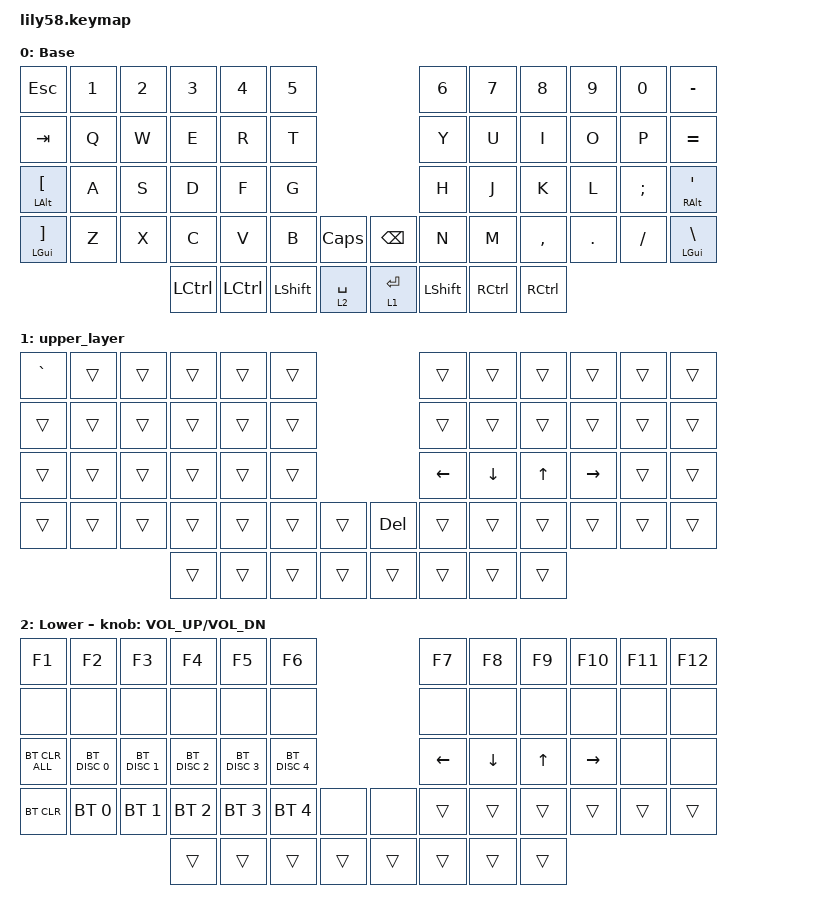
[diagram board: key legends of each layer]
/*
 * Copyright (c) 2020 The ZMK Contributors
 *
 * SPDX-License-Identifier: MIT
 */

#include <behaviors.dtsi>
#include <dt-bindings/zmk/bt.h>
#include <dt-bindings/zmk/keys.h>

/ {
    behaviors {
        hm: homerow_mods {
            compatible = "zmk,behavior-hold-tap";
            #binding-cells = <2>;
            tapping-term-ms = <150>;
            quick-tap-ms = <200>;
            flavor = "tap-preferred";
            require-prior-idle-ms = <125>;
            bindings = <&kp>, <&kp>;
        };
    };

    keymap {
        compatible = "zmk,keymap";

        default_layer {
            // ------------------------------------------------------------------------------------------------------------
            // |  ESC  |  1  |  2  |  3   |  4   |  5   |                   |  6   |  7    |  8    |  9   |   0   |   `   |
            // |  TAB  |  Q  |  W  |  E   |  R   |  T   |                   |  Y   |  U    |  I    |  O   |   P   |   -   |
            // |  CTRL |  A  |  S  |  D   |  F   |  G   |                   |  H   |  J    |  K    |  L   |   ;   |   '   |
            // | SHIFT |  Z  |  X  |  C   |  V   |  B   |   "["  |  |  "]"  |  N   |  M    |  ,    |  .   |   /   | SHIFT |
            //                     | ALT  | GUI  | LOWER|  SPACE |  | ENTER | RAISE| BSPC  | GUI   |

            display-name = "Base";
            bindings = <
&kp ESC                 &kp N1  &kp N2  &kp N3     &kp N4            &kp N5                                   &kp N6     &kp N7             &kp N8     &kp N9   &kp N0    &kp MINUS
&kp TAB                 &kp Q   &kp W   &kp E      &kp R             &kp T                                    &kp Y      &kp U              &kp I      &kp O    &kp P     &kp EQUAL
&hm LALT LEFT_BRACKET   &kp A   &kp S   &kp D      &kp F             &kp G                                    &kp H      &kp J              &kp K      &kp L    &kp SEMI  &hm RALT SINGLE_QUOTE
&hm LGUI RIGHT_BRACKET  &kp Z   &kp X   &kp C      &kp V             &kp B      &kp CAPS       &kp BACKSPACE  &kp N      &kp M              &kp COMMA  &kp DOT  &kp FSLH  &hm LGUI BSLH
                                        &kp LCTRL  &kp LEFT_CONTROL  &kp LSHFT  &lt 2 SPACE    &lt 1 RETURN   &kp LSHFT  &kp RIGHT_CONTROL  &kp RCTRL
            >;
        };

        upper_layer {
            bindings = <
&kp GRAVE  &trans  &trans  &trans  &trans  &trans                        &trans    &trans    &trans        &trans           &trans  &trans
&trans     &trans  &trans  &trans  &trans  &trans                        &trans    &trans    &trans        &trans           &trans  &trans
&trans     &trans  &trans  &trans  &trans  &trans                        &kp LEFT  &kp DOWN  &kp UP_ARROW  &kp RIGHT_ARROW  &trans  &trans
&trans     &trans  &trans  &trans  &trans  &trans  &trans    &kp DELETE  &trans    &trans    &trans        &trans           &trans  &trans
                           &trans  &trans  &trans  &trans    &trans      &trans    &trans    &trans
            >;
        };

        lower_layer {
            // ------------------------------------------------------------------------------------------------------------
            // | BTCLR | BT1 | BT2 |  BT3 |  BT4 |  BT5 |                   |      |       |       |      |       |       |
            // |  F1   |  F2 |  F3 |  F4  |  F5  |  F6  |                   |  F7  |  F8   |  F9   |  F10 |  F11  |  F12  |
            // |   `   |  !  |  @  |  #   |  $   |  %   |                   |  ^   |  &    |  *    |  (   |   )   |   ~   |
            // |       |     |     |      |      |      |        |  |       |      |  _    |  +    |  {   |   }   |  "|"  |
            //                     |      |      |      |        |  |       |      |       |       |

            display-name = "Lower";
            bindings = <
&kp F1          &kp F2         &kp F3         &kp F4         &kp F5         &kp F6                           &kp F7    &kp F8    &kp F9  &kp F10    &kp F11  &kp F12
&none           &none          &none          &none          &none          &none                            &none     &none     &none   &none      &none    &none
&bt BT_CLR_ALL  &bt BT_DISC 0  &bt BT_DISC 1  &bt BT_DISC 2  &bt BT_DISC 3  &bt BT_DISC 4                    &kp LEFT  &kp DOWN  &kp UP  &kp RIGHT  &none    &none
&bt BT_CLR      &bt BT_SEL 0   &bt BT_SEL 1   &bt BT_SEL 2   &bt BT_SEL 3   &bt BT_SEL 4   &none     &none   &trans    &trans    &trans  &trans     &trans   &trans
                                              &trans         &trans         &trans         &trans    &trans  &trans    &trans    &trans
            >;

            sensor-bindings = <&inc_dec_kp C_VOL_UP C_VOL_DN>;
        };
    };
};
